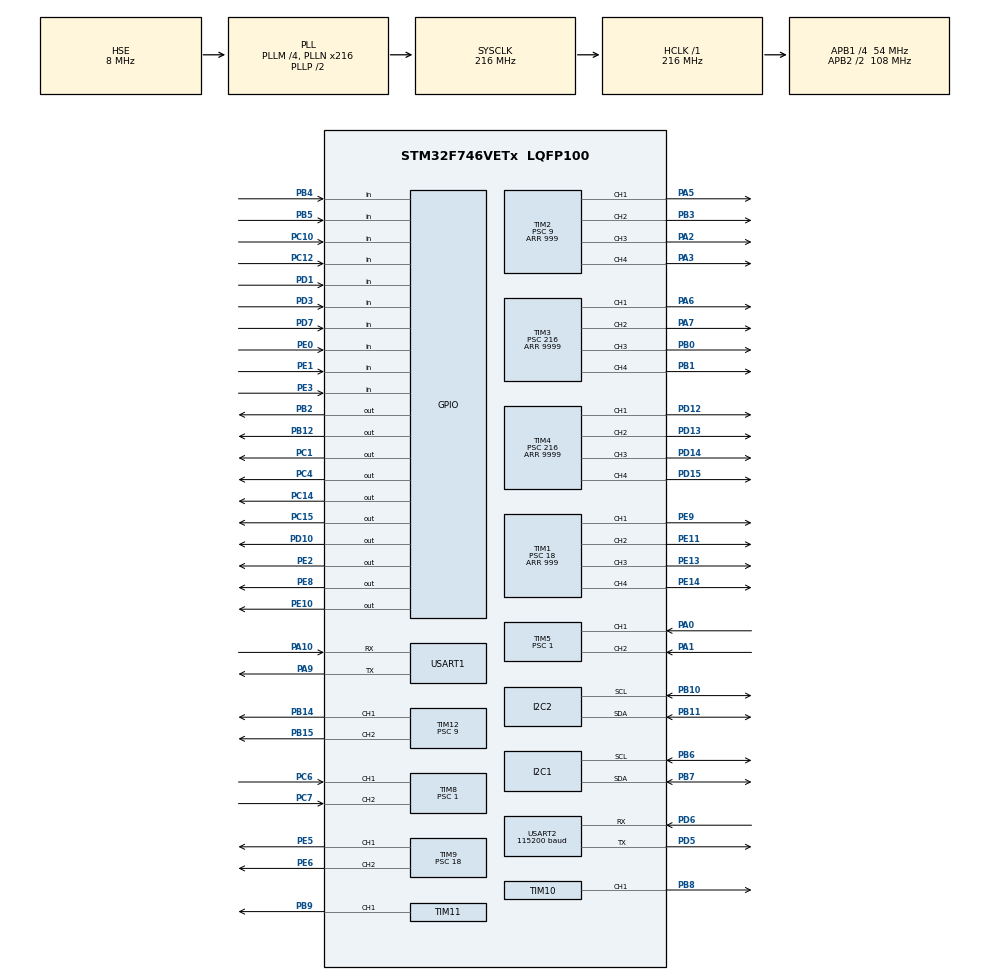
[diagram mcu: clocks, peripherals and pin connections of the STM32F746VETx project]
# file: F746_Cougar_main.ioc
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CORTEX_M7.ART_ACCLERATOR_ENABLE=1
CORTEX_M7.CPU_DCache=Enabled
CORTEX_M7.CPU_ICache=Enabled
CORTEX_M7.FlashInterface=TCM_Enabled
Dma.Request0=USART1_RX
Dma.USART1_RX.0.Direction=DMA_PERIPH_TO_MEMORY
Dma.USART1_RX.0.FIFOMode=DMA_FIFOMODE_DISABLE
Dma.USART1_RX.0.Instance=DMA2_Stream2
Dma.USART1_RX.0.MemDataAlignment=DMA_MDATAALIGN_BYTE
Dma.USART1_RX.0.MemInc=DMA_MINC_ENABLE
Dma.USART1_RX.0.Mode=DMA_CIRCULAR
Dma.USART1_RX.0.PeriphDataAlignment=DMA_PDATAALIGN_BYTE
Dma.USART1_RX.0.PeriphInc=DMA_PINC_DISABLE
Dma.USART1_RX.0.Priority=DMA_PRIORITY_MEDIUM
I2C1.I2C_Fall_Time=300
I2C1.I2C_Rise_Time=1000
I2C1.Timing=0x40D32A31
I2C2.I2C_Fall_Time=300
I2C2.I2C_Rise_Time=1000
I2C2.Timing=0x40D32A31
IWDG.Prescaler=IWDG_PRESCALER_32
Mcu.Family=STM32F7
Mcu.Name=STM32F746VETx
Mcu.Package=LQFP100
NVIC.DMA2_Stream2_IRQn=true\:1\:0\:true\:false\:true\:true
NVIC.I2C2_EV_IRQn=true\:3\:0\:true\:false\:true\:true
NVIC.PriorityGroup=NVIC_PRIORITYGROUP_4
NVIC.TIM6_DAC_IRQn=true\:4\:0\:true\:false\:true\:true
NVIC.USART1_IRQn=true\:2\:0\:true\:false\:true\:true
PA0/WKUP.Signal=S_TIM5_CH1
PA1.Signal=S_TIM5_CH2
PA10.Mode=Asynchronous
PA10.Signal=USART1_RX
PA13.Mode=Serial_Wire
PA13.Signal=SYS_JTMS-SWDIO
PA14.Mode=Serial_Wire
PA14.Signal=SYS_JTCK-SWCLK
PA2.Signal=S_TIM2_CH3
PA3.Signal=S_TIM2_CH4
PA5.Signal=S_TIM2_CH1_ETR
PA6.Signal=S_TIM3_CH1
PA7.Signal=S_TIM3_CH2
PA9.Mode=Asynchronous
PA9.Signal=USART1_TX
PB0.Signal=S_TIM3_CH3
PB1.Signal=S_TIM3_CH4
PB10.Mode=I2C
PB10.Signal=I2C2_SCL
PB11.Mode=I2C
PB11.Signal=I2C2_SDA
PB12.Signal=GPIO_Output
PB14.Signal=S_TIM12_CH1
PB15.Signal=S_TIM12_CH2
PB2.Signal=GPIO_Output
PB3.Signal=S_TIM2_CH2
PB4.Signal=GPIO_Input
PB5.Signal=GPIO_Input
PB6.Mode=I2C
PB6.Signal=I2C1_SCL
PB7.Mode=I2C
PB7.Signal=I2C1_SDA
PB8.Signal=S_TIM10_CH1
PB9.Signal=S_TIM11_CH1
PC1.Signal=GPIO_Output
PC10.Signal=GPIO_Input
PC12.Signal=GPIO_Input
PC14/OSC32_IN.Signal=GPIO_Output
PC15/OSC32_OUT.Signal=GPIO_Output
PC4.Signal=GPIO_Output
PC6.Signal=S_TIM8_CH1
PC7.Signal=S_TIM8_CH2
PD1.Signal=GPIO_Input
PD10.Signal=GPIO_Output
PD12.Signal=S_TIM4_CH1
PD13.Signal=S_TIM4_CH2
PD14.Signal=S_TIM4_CH3
PD15.Signal=S_TIM4_CH4
PD3.Signal=GPIO_Input
PD5.Mode=Asynchronous
PD5.Signal=USART2_TX
PD6.Mode=Asynchronous
PD6.Signal=USART2_RX
PD7.Signal=GPIO_Input
PE0.Signal=GPIO_Input
PE1.Signal=GPIO_Input
PE10.Signal=GPIO_Output
PE11.Signal=S_TIM1_CH2
PE13.Signal=S_TIM1_CH3
PE14.Signal=S_TIM1_CH4
PE2.Signal=GPIO_Output
PE3.Signal=GPIO_Input
PE5.Signal=S_TIM9_CH1
PE6.Signal=S_TIM9_CH2
PE8.Signal=GPIO_Output
PE9.Signal=S_TIM1_CH1
PH0/OSC_IN.Mode=HSE-External-Oscillator
PH0/OSC_IN.Signal=RCC_OSC_IN
PH1/OSC_OUT.Mode=HSE-External-Oscillator
PH1/OSC_OUT.Signal=RCC_OSC_OUT
ProjectManager.HeapSize=0x400
ProjectManager.StackSize=0x800
ProjectManager.TargetToolchain=TrueSTUDIO
RCC.AHBFreq_Value=216000000
RCC.APB1CLKDivider=RCC_HCLK_DIV4
RCC.APB1Freq_Value=54000000
RCC.APB1TimFreq_Value=108000000
RCC.APB2CLKDivider=RCC_HCLK_DIV2
RCC.APB2Freq_Value=108000000
RCC.APB2TimFreq_Value=216000000
RCC.CortexFreq_Value=216000000
RCC.HCLKFreq_Value=216000000
RCC.HSE_VALUE=8000000
RCC.HSI_VALUE=16000000
RCC.LSE_VALUE=32768
RCC.PLLM=4
RCC.PLLN=216
RCC.PLLSourceVirtual=RCC_PLLSOURCE_HSE
RCC.SYSCLKFreq_VALUE=216000000
RCC.SYSCLKSource=RCC_SYSCLKSOURCE_PLLCLK
RCC.USBFreq_Value=216000000
RCC.VCOOutputFreq_Value=432000000
SH.S_TIM10_CH1.0=TIM10_CH1,PWM Generation1 CH1
SH.S_TIM11_CH1.0=TIM11_CH1,PWM Generation1 CH1
SH.S_TIM12_CH1.0=TIM12_CH1,PWM Generation1 CH1
SH.S_TIM12_CH2.0=TIM12_CH2,PWM Generation2 CH2
SH.S_TIM1_CH1.0=TIM1_CH1,PWM Generation1 CH1
SH.S_TIM1_CH2.0=TIM1_CH2,PWM Generation2 CH2
SH.S_TIM1_CH3.0=TIM1_CH3,PWM Generation3 CH3
SH.S_TIM1_CH4.0=TIM1_CH4,PWM Generation4 CH4
SH.S_TIM2_CH1_ETR.0=TIM2_CH1,PWM Generation1 CH1
SH.S_TIM2_CH2.0=TIM2_CH2,PWM Generation2 CH2
SH.S_TIM2_CH3.0=TIM2_CH3,PWM Generation3 CH3
SH.S_TIM2_CH4.0=TIM2_CH4,PWM Generation4 CH4
SH.S_TIM3_CH1.0=TIM3_CH1,PWM Generation1 CH1
SH.S_TIM3_CH2.0=TIM3_CH2,PWM Generation2 CH2
SH.S_TIM3_CH3.0=TIM3_CH3,PWM Generation3 CH3
SH.S_TIM3_CH4.0=TIM3_CH4,PWM Generation4 CH4
SH.S_TIM4_CH1.0=TIM4_CH1,PWM Generation1 CH1
SH.S_TIM4_CH2.0=TIM4_CH2,PWM Generation2 CH2
SH.S_TIM4_CH3.0=TIM4_CH3,PWM Generation3 CH3
SH.S_TIM4_CH4.0=TIM4_CH4,PWM Generation4 CH4
SH.S_TIM5_CH1.0=TIM5_CH1,Encoder_Interface
SH.S_TIM5_CH2.0=TIM5_CH2,Encoder_Interface
SH.S_TIM8_CH1.0=TIM8_CH1,Encoder_Interface
SH.S_TIM8_CH2.0=TIM8_CH2,Encoder_Interface
SH.S_TIM9_CH1.0=TIM9_CH1,PWM Generation1 CH1
SH.S_TIM9_CH2.0=TIM9_CH2,PWM Generation2 CH2
TIM1.Channel-PWM\ Generation1\ CH1=TIM_CHANNEL_1
TIM1.Channel-PWM\ Generation2\ CH2=TIM_CHANNEL_2
TIM1.Channel-PWM\ Generation3\ CH3=TIM_CHANNEL_3
TIM1.Channel-PWM\ Generation4\ CH4=TIM_CHANNEL_4
TIM1.Period=999
TIM1.Prescaler=18
TIM10.Channel=TIM_CHANNEL_1
TIM10.Period=9999
TIM10.Prescaler=432
TIM11.Channel=TIM_CHANNEL_1
TIM11.Period=9999
TIM11.Prescaler=432
TIM12.Channel-PWM\ Generation1\ CH1=TIM_CHANNEL_1
TIM12.Channel-PWM\ Generation2\ CH2=TIM_CHANNEL_2
TIM12.Period=999
TIM12.Prescaler=9
TIM2.Channel-PWM\ Generation1\ CH1=TIM_CHANNEL_1
TIM2.Channel-PWM\ Generation2\ CH2=TIM_CHANNEL_2
TIM2.Channel-PWM\ Generation3\ CH3=TIM_CHANNEL_3
TIM2.Channel-PWM\ Generation4\ CH4=TIM_CHANNEL_4
TIM2.Period=999
TIM2.Prescaler=9
TIM3.Channel-PWM\ Generation1\ CH1=TIM_CHANNEL_1
TIM3.Channel-PWM\ Generation2\ CH2=TIM_CHANNEL_2
TIM3.Channel-PWM\ Generation3\ CH3=TIM_CHANNEL_3
TIM3.Channel-PWM\ Generation4\ CH4=TIM_CHANNEL_4
TIM3.Period=9999
TIM3.Prescaler=216
TIM4.Channel-PWM\ Generation1\ CH1=TIM_CHANNEL_1
TIM4.Channel-PWM\ Generation2\ CH2=TIM_CHANNEL_2
TIM4.Channel-PWM\ Generation3\ CH3=TIM_CHANNEL_3
TIM4.Channel-PWM\ Generation4\ CH4=TIM_CHANNEL_4
TIM4.Period=9999
TIM4.Prescaler=216
TIM5.IC1Filter=2
TIM5.IC1Polarity=TIM_ICPOLARITY_FALLING
TIM5.IC2Filter=2
TIM5.IC2Polarity=TIM_ICPOLARITY_FALLING
TIM5.Period=60000
TIM5.Prescaler=1
TIM6.Period=50000-1
TIM6.Prescaler=864
TIM8.IC1Filter=2
TIM8.IC2Filter=2
TIM8.Period=60000
TIM8.Prescaler=1
TIM9.Channel-PWM\ Generation1\ CH1=TIM_CHANNEL_1
TIM9.Channel-PWM\ Generation2\ CH2=TIM_CHANNEL_2
TIM9.Period=999
TIM9.Prescaler=18
USART1.VirtualMode-Asynchronous=VM_ASYNC
USART1.WordLength=WORDLENGTH_8B
USART2.BaudRate=115200
USART2.VirtualMode-Asynchronous=VM_ASYNC
USART2.WordLength=WORDLENGTH_8B
VP_IWDG_VS_IWDG.Mode=IWDG_Activate
VP_TIM10_VS_ClockSourceINT.Mode=Enable_Timer
VP_TIM11_VS_ClockSourceINT.Mode=Enable_Timer
VP_TIM6_VS_ClockSourceINT.Mode=Enable_Timer
board=F746_Cougar_main

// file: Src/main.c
/**
  ******************************************************************************
  * File Name          : main.c
  * Description        : Main program body
  ******************************************************************************
  ** This notice applies to any and all portions of this file
  * that are not between comment pairs USER CODE BEGIN and
  * USER CODE END. Other portions of this file, whether
  * inserted by the user or by software development tools
  * are owned by their respective copyright owners.
  *
  * COPYRIGHT(c) 2017 STMicroelectronics
  *
  * Redistribution and use in source and binary forms, with or without modification,
  * are permitted provided that the following conditions are met:
  *   1. Redistributions of source code must retain the above copyright notice,
  *      this list of conditions and the following disclaimer.
  *   2. Redistributions in binary form must reproduce the above copyright notice,
  *      this list of conditions and the following disclaimer in the documentation
  *      and/or other materials provided with the distribution.
  *   3. Neither the name of STMicroelectronics nor the names of its contributors
  *      may be used to endorse or promote products derived from this software
  *      without specific prior written permission.
  *
  * THIS SOFTWARE IS PROVIDED BY THE COPYRIGHT HOLDERS AND CONTRIBUTORS "AS IS"
  * AND ANY EXPRESS OR IMPLIED WARRANTIES, INCLUDING, BUT NOT LIMITED TO, THE
  * IMPLIED WARRANTIES OF MERCHANTABILITY AND FITNESS FOR A PARTICULAR PURPOSE ARE
  * DISCLAIMED. IN NO EVENT SHALL THE COPYRIGHT HOLDER OR CONTRIBUTORS BE LIABLE
  * FOR ANY DIRECT, INDIRECT, INCIDENTAL, SPECIAL, EXEMPLARY, OR CONSEQUENTIAL
  * DAMAGES (INCLUDING, BUT NOT LIMITED TO, PROCUREMENT OF SUBSTITUTE GOODS OR
  * SERVICES; LOSS OF USE, DATA, OR PROFITS; OR BUSINESS INTERRUPTION) HOWEVER
  * CAUSED AND ON ANY THEORY OF LIABILITY, WHETHER IN CONTRACT, STRICT LIABILITY,
  * OR TORT (INCLUDING NEGLIGENCE OR OTHERWISE) ARISING IN ANY WAY OUT OF THE USE
  * OF THIS SOFTWARE, EVEN IF ADVISED OF THE POSSIBILITY OF SUCH DAMAGE.
  *
  ******************************************************************************
  */

#include "main.h"
#include "stm32f7xx_hal.h"
#include "dma.h"
#include "i2c.h"
#include "iwdg.h"
#include "tim.h"
#include "usart.h"
#include "gpio.h"

/* USER CODE BEGIN Includes */
#include "management.h"
/* USER CODE END Includes */

/* USER CODE BEGIN PV */
TIM_Encoder_InitTypeDef sConfig;
TIM_MasterConfigTypeDef sMasterConfig;
TIM_OC_InitTypeDef sConfigOC;
TIM_BreakDeadTimeConfigTypeDef sBreakDeadTimeConfig;
arm_pid_instance_f32 pidstruct_encorder1;
/* Private variables ---------------------------------------------------------*/

/* USER CODE END PV */

void SystemClock_Config(void);

/* USER CODE BEGIN PFP */
/* Private function prototypes -----------------------------------------------*/
long map(long x, long in_min, long in_max, long out_min, long out_max) ;
void main_run();
void sens_test();
void comu_test();
void test_mode();
void demo_mode();
void calib_mode();
void motor_move(uint8_t comand,uint8_t dig1,uint8_t dig2,uint8_t power1a,uint8_t power2a);
int max(int a,int b);
void printLCD();
/* USER CODE END PFP */

/* USER CODE BEGIN 0 */
#define Servonumber 5
#define debug 1
uint8_t Flug_Rxdata=0;
uint8_t Rxbuf[Servonumber+10];
uint8_t TPIPConnect=0,Rxdetatemp=0;
uint8_t data[Servonumber+9],tempdata[Servonumber+9];
uint8_t SW[5];
uint8_t mode;
uint8_t motor[5];
int16_t servodata[Servonumber]={90,90,90,90,90};
int16_t servotemp[Servonumber]={90,90,90,90,90};
uint32_t uwDirectionCount1 = 0;
uint32_t uwDirectionCount2 = 0;

void HAL_TIM_PeriodElapsedCallback(TIM_HandleTypeDef *htim)
{
	 if(Rxdetatemp!=data[Servonumber+8] || HAL_GPIO_ReadPin(GPIOE,GPIO_PIN_1)==0){
		 TPIPConnect=1;
		 HAL_GPIO_WritePin(GPIOE,GPIO_PIN_8,1);
	 }
	 else{
		 TPIPConnect=0;
		 HAL_GPIO_TogglePin(GPIOE,GPIO_PIN_8);
	 }
	 Rxdetatemp=data[Servonumber+8];
}
/* USER CODE END 0 */

int main(void)
{

  /* USER CODE BEGIN 1 */
	//Tim1 12KHz
	//Tim3 12Khz
	//Tim5 12Khz
	//Tim2 50Hz
	//Tim4 50Hz
	//Tim9 50Hz
	//Tim6 20Hz

  /* USER CODE END 1 */

  /* Enable I-Cache-------------------------------------------------------------*/
  SCB_EnableICache();

  /* Enable D-Cache-------------------------------------------------------------*/
  SCB_EnableDCache();

  /* MCU Configuration----------------------------------------------------------*/

  /* Reset of all peripherals, Initializes the Flash interface and the Systick. */
  HAL_Init();

  /* Configure the system clock */
  SystemClock_Config();

  /* Initialize all configured peripherals */
  MX_GPIO_Init();
  MX_DMA_Init();
  MX_I2C2_Init();
  MX_TIM1_Init();
  MX_TIM3_Init();
  MX_TIM2_Init();
  MX_TIM4_Init();
  MX_TIM8_Init();
  MX_USART1_UART_Init();
  MX_USART2_UART_Init();
  MX_TIM6_Init();
  MX_TIM9_Init();
  MX_TIM5_Init();
  MX_TIM12_Init();
  MX_TIM11_Init();
  MX_TIM10_Init();
  MX_I2C1_Init();
 // MX_IWDG_Init();

  /* USER CODE BEGIN 2 */
  xdev_out(uart_putc);
  if(HAL_GPIO_ReadPin(GPIOE,GPIO_PIN_1)==1){
  	  MX_IWDG_Init();
  	}
  	else{
  		beep(10,30,30);
  	}
  servo(90,90,90,90,90,90,90,90,90,90);
  HAL_GPIO_WritePin(GPIOC,GPIO_PIN_1,1);
  HAL_GPIO_WritePin(GPIOC,GPIO_PIN_15,0);
  HAL_GPIO_WritePin(GPIOE,GPIO_PIN_2,0);
  oled_i2c_to_oled(&hi2c2);
  JY901_init(&hi2c2);
  init_xprintf(&huart2);
  oled_returnhome();
  oled_puts("Is The Order a");
  oled_setcursor(1,2);
  oled_puts("Rescue Robot?");
  HAL_Delay(1000);
  HAL_IWDG_Refresh(&hiwdg);
  HAL_TIM_Base_Start_IT(&htim6);
  if (HAL_UART_Receive_DMA(&huart1, (uint8_t *)Rxbuf,(Servonumber+7+3)) != HAL_OK)
     {
       Error_Handler();
     }
    if(HAL_TIM_Encoder_Init(&htim5, &sConfig) != HAL_OK)
       {
         Error_Handler();
       }
    HAL_TIM_Encoder_Start(&htim5, TIM_CHANNEL_ALL);
    TIM5->CNT=3000;
    if(HAL_TIM_Encoder_Init(&htim8, &sConfig) != HAL_OK)
      {
        Error_Handler();
      }
    HAL_TIM_Encoder_Start(&htim8, TIM_CHANNEL_ALL);
    TIM8->CNT=3000;
    oled_clear();
	HAL_IWDG_Refresh(&hiwdg);
  /* USER CODE END 2 */

  /* Infinite loop */
  while (1)
  {

  /* USER CODE BEGIN 3 */
	  mofu:
	  mode=HAL_GPIO_ReadPin(GPIOE,GPIO_PIN_0)+(HAL_GPIO_ReadPin(GPIOB,GPIO_PIN_5)*2)
			  +(HAL_GPIO_ReadPin(GPIOB,GPIO_PIN_4)*4);

	  switch(mode){
	  case 1:
		  if(HAL_GPIO_ReadPin(GPIOD,GPIO_PIN_7)==1){
			    oled_returnhome();
			    oled_puts("main_run select ");
			    oled_setcursor(1,0);
			    oled_puts("start setting   ");
			  HOUI_def=JY901_def_set();
			    TIM5->CNT=30000;
			    TIM8->CNT=30000;
			    uint32_t timeout=0;
			    while(encordermotor1(0) && timeout<5000000){
			    	timeout++;
			    	delayUs(1);
			    HAL_IWDG_Refresh(&hiwdg);
			    }
			    timeout=0;
			    while(encordermotor2(0) && timeout<5000000){
			    	timeout++;
			    	delayUs(1);
			    HAL_IWDG_Refresh(&hiwdg);
			    }
			    timeout=0;
				HAL_GPIO_WritePin(GPIOC,GPIO_PIN_15,0);
			  while(TPIPConnect==0){
			  	motor_move(0,0,0,0,0);
			    oled_returnhome();
			    oled_puts("main_run select ");
			    oled_setcursor(1,0);
			    oled_puts("waiting for TPIP");
			    //xprintf(" S1=%d",HAL_GPIO_ReadPin(GPIOD,GPIO_PIN_3));
			    //xprintf(" S2=%d",HAL_GPIO_ReadPin(GPIOD,GPIO_PIN_1));
			    //xprintf(" S3=%d",HAL_GPIO_ReadPin(GPIOC,GPIO_PIN_12));
			    //xprintf(" S4=%d",HAL_GPIO_ReadPin(GPIOC,GPIO_PIN_10));
				xprintf(" 0=%d",Rxbuf[0]);
				xprintf(" 1=%d",Rxbuf[1]);
				xprintf(" 2=%d",Rxbuf[2]);
				xprintf(" 3=%d",Rxbuf[3]);
				xprintf(" 4=%d",Rxbuf[4]);
				xprintf(" 5=%d",Rxbuf[5]);
				xprintf(" 6=%d",Rxbuf[6]);
				xprintf(" 7=%d",Rxbuf[7]);
				xprintf(" 8=%d",Rxbuf[8]);
				xprintf(" 9=%d",Rxbuf[9]);
				xprintf(" 10=%d",Rxbuf[10]);
				xprintf(" 11=%d",Rxbuf[11]);
				xprintf(" 12=%d",Rxbuf[12]);
				xprintf(" 13=%d",Rxbuf[13]);
				xprintf(" 14=%d\r\n",Rxbuf[14]);
			  	if(HAL_GPIO_ReadPin(GPIOD,GPIO_PIN_7)==0){goto mofu;}
			  	HAL_GPIO_WritePin(GPIOC,GPIO_PIN_1,1);
			    HAL_IWDG_Refresh(&hiwdg);
			  	HAL_GPIO_TogglePin(GPIOD,GPIO_PIN_10);
			  	}
			  	HAL_GPIO_WritePin(GPIOE,GPIO_PIN_2,1);
			  	HAL_Delay(50);
			  	HAL_GPIO_WritePin(GPIOE,GPIO_PIN_2,0);
			  	HAL_Delay(50);
			  	HAL_GPIO_WritePin(GPIOE,GPIO_PIN_2,1);
			  	HAL_Delay(50);
			  	HAL_GPIO_WritePin(GPIOE,GPIO_PIN_2,0);
			  	HAL_Delay(50);
			  	HAL_GPIO_WritePin(GPIOE,GPIO_PIN_2,1);
			  	HAL_Delay(50);
			  	HAL_GPIO_WritePin(GPIOE,GPIO_PIN_2,0);
			  	while(HAL_GPIO_ReadPin(GPIOD,GPIO_PIN_7)==1){
			  		if(TPIPConnect==1){
			  		HAL_GPIO_WritePin(GPIOC,GPIO_PIN_1,1);
			  		main_run();
			  		if(data[Servonumber+8]%11==0){
			  		HAL_GPIO_WritePin(GPIOB,GPIO_PIN_2,1);
			  		}
			  		if(data[Servonumber+8]%11==5){
			  		HAL_GPIO_WritePin(GPIOB,GPIO_PIN_2,0);
			  		}
			  	  }
			  	  else{
			  			HAL_GPIO_WritePin(GPIOC,GPIO_PIN_1,0);
			  			motor_move(0,0,0,0,0);
			  			servo(servotemp[0],servotemp[1],servotemp[2],servotemp[3],servotemp[4],
			  				0,0,0,0,0);
			  			oled_returnhome();
			  			oled_puts("main_run select");
			  			oled_setcursor(1,0);
			  			oled_puts("lost connection!");
			  			for(int i=0;i<(Servonumber+10);i++){
			  				xprintf(" %d)%d",i,Rxbuf[i]);
			  			}
			  			xprintf("\r\n");
			  		 HAL_GPIO_WritePin(GPIOE,GPIO_PIN_2,1);
			  		 HAL_Delay(300);
			  		 HAL_GPIO_WritePin(GPIOE,GPIO_PIN_2,0);
			  		 HAL_Delay(100);
			  	  }
			  	  HAL_IWDG_Refresh(&hiwdg);
			  	  HAL_GPIO_TogglePin(GPIOD,GPIO_PIN_10);
			  }
		  		HAL_GPIO_WritePin(GPIOB,GPIO_PIN_2,0);
	  			motor_move(0,0,0,0,0);
	  			servo(servotemp[0],servotemp[1],servotemp[2],servotemp[3],servotemp[4],
	  				0,0,0,0,0);
		  }
		  else{
			  oled_returnhome();
			  oled_puts("main_run select");
			  oled_setcursor(1,0);
			  oled_puts("OK?     waiting ");
			  HAL_Delay(5);
			  HAL_IWDG_Refresh(&hiwdg);
		  }
	  break;

	  case 2:
			if(HAL_GPIO_ReadPin(GPIOD,GPIO_PIN_7)==1){
				HOUI_def=JY901_def_set();
			    TIM5->CNT=30000;
			    TIM8->CNT=30000;
				HAL_GPIO_WritePin(GPIOC,GPIO_PIN_1,0);
				while(HAL_GPIO_ReadPin(GPIOD,GPIO_PIN_7)==1){
				oled_returnhome();
				oled_puts("Comu test select");
				oled_setcursor(1,0);
				oled_puts("Runnning         ");
				comu_test();
				HAL_IWDG_Refresh(&hiwdg);
				HAL_GPIO_TogglePin(GPIOD,GPIO_PIN_10);
			}
				motor_move(0,0,0,0,0);
				servo(90,90,90,90,90,90,0,0,0,0);
			}
			else{
				oled_returnhome();
				oled_puts("Comu test select");
				oled_setcursor(1,0);
				oled_puts("OK?     waiting ");
				HAL_IWDG_Refresh(&hiwdg);
				HAL_Delay(5);
			}
	  break;

	  case 3:
		  if(HAL_GPIO_ReadPin(GPIOD,GPIO_PIN_7)==1){
			  HOUI_def=JY901_def_set();
			    TIM5->CNT=30000;
			    TIM8->CNT=30000;
			  HAL_GPIO_WritePin(GPIOC,GPIO_PIN_1,0);
			  	while(HAL_GPIO_ReadPin(GPIOD,GPIO_PIN_7)==1){
			  	oled_returnhome();
			  	oled_puts("sens_test select");
			  	oled_setcursor(1,0);
			  	oled_puts("Running          ");
				sens_test();
				  HAL_IWDG_Refresh(&hiwdg);
			  HAL_GPIO_TogglePin(GPIOD,GPIO_PIN_10);
			  }
				motor_move(0,0,0,0,0);
				servo(90,90,90,90,90,90,0,0,0,0);
		  }
		  else{
				oled_returnhome();
				oled_puts("sens_test select");
				oled_setcursor(1,0);
				oled_puts("OK?     waiting ");
				  HAL_IWDG_Refresh(&hiwdg);
				HAL_Delay(5);
		  }
	  break;

	  case 4:
		  if(HAL_GPIO_ReadPin(GPIOD,GPIO_PIN_7)==1){
			  HOUI_def=JY901_def_set();
			    TIM5->CNT=30000;
			    TIM8->CNT=30000;
			    while(HAL_GPIO_ReadPin(GPIOD,GPIO_PIN_7)==1){
			    	HAL_GPIO_WritePin(GPIOC,GPIO_PIN_1,1);
			    	oled_returnhome();
			    	oled_puts("test mode select");
			    	oled_setcursor(1,0);
			    	oled_puts("Ruuning         ");
			    	  HAL_IWDG_Refresh(&hiwdg);
					HAL_GPIO_TogglePin(GPIOD,GPIO_PIN_10);
					test_mode();
			     }
				motor_move(0,0,0,0,0);
				servo(90,90,90,90,90,90,0,0,0,0);
		  }
		  else{
			oled_returnhome();
			oled_puts("test mode select");
			oled_setcursor(1,0);
			oled_puts("OK?     waiting ");
			  HAL_IWDG_Refresh(&hiwdg);
			HAL_Delay(5);
		  }
	  break;

	  case 5:
		  if(HAL_GPIO_ReadPin(GPIOD,GPIO_PIN_7)==1){
			  HOUI_def=JY901_def_set();
			    TIM5->CNT=30000;
			    TIM8->CNT=30000;
				HAL_GPIO_WritePin(GPIOC,GPIO_PIN_1,1);
				while(HAL_GPIO_ReadPin(GPIOD,GPIO_PIN_7)==1){
				oled_returnhome();
				oled_puts("demo mode select");
				oled_setcursor(1,0);
				oled_puts("Runnning         ");
				HAL_IWDG_Refresh(&hiwdg);
				HAL_GPIO_TogglePin(GPIOD,GPIO_PIN_10);
				demo_mode();
			}
				motor_move(0,0,0,0,0);
				servo(90,90,90,90,90,90,0,0,0,0);
		  }
		  else{
				oled_returnhome();
				oled_puts("demo mode select");
				oled_setcursor(1,0);
				oled_puts("OK?     waiting ");
				  HAL_IWDG_Refresh(&hiwdg);
				HAL_Delay(5);
		  }
	  break;

	  case 6:
			oled_returnhome();
			oled_puts("Calib select");
			oled_setcursor(1,0);
		  if(HAL_GPIO_ReadPin(GPIOD,GPIO_PIN_7)==1){
			  calib_mode();
			  HAL_IWDG_Refresh(&hiwdg);
		  }
		  else{
				oled_puts("OK?     waiting ");
				HAL_Delay(5);
		  }
			motor_move(0,0,0,0,0);
			servo(90,90,90,90,90,90,0,0,0,0);
	  break;

	  default:
			oled_returnhome();
			oled_puts("select mode     ");
			oled_setcursor(1,0);
			oled_puts("           SURF ");
			motor_move(0,0,0,0,0);
			servo(90,90,90,90,90,90,0,0,0,0);

			  HAL_IWDG_Refresh(&hiwdg);
		   HAL_Delay(5);
	  break;
	  }
	  HAL_IWDG_Refresh(&hiwdg);
	  HAL_GPIO_TogglePin(GPIOD,GPIO_PIN_10);

  }
  /* USER CODE END 3 */

}

/** System Clock Configuration
*/
void SystemClock_Config(void)
{

  RCC_OscInitTypeDef RCC_OscInitStruct;
  RCC_ClkInitTypeDef RCC_ClkInitStruct;
  RCC_PeriphCLKInitTypeDef PeriphClkInitStruct;

    /**Configure the main internal regulator output voltage
    */
  __HAL_RCC_PWR_CLK_ENABLE();

  __HAL_PWR_VOLTAGESCALING_CONFIG(PWR_REGULATOR_VOLTAGE_SCALE1);

    /**Initializes the CPU, AHB and APB busses clocks
    */
  RCC_OscInitStruct.OscillatorType = RCC_OSCILLATORTYPE_LSI|RCC_OSCILLATORTYPE_HSE;
  RCC_OscInitStruct.HSEState = RCC_HSE_ON;
  RCC_OscInitStruct.LSIState = RCC_LSI_ON;
  RCC_OscInitStruct.PLL.PLLState = RCC_PLL_ON;
  RCC_OscInitStruct.PLL.PLLSource = RCC_PLLSOURCE_HSE;
  RCC_OscInitStruct.PLL.PLLM = 4;
  RCC_OscInitStruct.PLL.PLLN = 216;
  RCC_OscInitStruct.PLL.PLLP = RCC_PLLP_DIV2;
  RCC_OscInitStruct.PLL.PLLQ = 2;
  if (HAL_RCC_OscConfig(&RCC_OscInitStruct) != HAL_OK)
  {
    _Error_Handler(__FILE__, __LINE__);
  }

    /**Activate the Over-Drive mode
    */
  if (HAL_PWREx_EnableOverDrive() != HAL_OK)
  {
    _Error_Handler(__FILE__, __LINE__);
  }

    /**Initializes the CPU, AHB and APB busses clocks
    */
  RCC_ClkInitStruct.ClockType = RCC_CLOCKTYPE_HCLK|RCC_CLOCKTYPE_SYSCLK
                              |RCC_CLOCKTYPE_PCLK1|RCC_CLOCKTYPE_PCLK2;
  RCC_ClkInitStruct.SYSCLKSource = RCC_SYSCLKSOURCE_PLLCLK;
  RCC_ClkInitStruct.AHBCLKDivider = RCC_SYSCLK_DIV1;
  RCC_ClkInitStruct.APB1CLKDivider = RCC_HCLK_DIV4;
  RCC_ClkInitStruct.APB2CLKDivider = RCC_HCLK_DIV2;

  if (HAL_RCC_ClockConfig(&RCC_ClkInitStruct, FLASH_LATENCY_7) != HAL_OK)
  {
    _Error_Handler(__FILE__, __LINE__);
  }

  PeriphClkInitStruct.PeriphClockSelection = RCC_PERIPHCLK_USART1|RCC_PERIPHCLK_USART2
                              |RCC_PERIPHCLK_I2C1|RCC_PERIPHCLK_I2C2;
  PeriphClkInitStruct.Usart1ClockSelection = RCC_USART1CLKSOURCE_PCLK2;
  PeriphClkInitStruct.Usart2ClockSelection = RCC_USART2CLKSOURCE_PCLK1;
  PeriphClkInitStruct.I2c1ClockSelection = RCC_I2C1CLKSOURCE_PCLK1;
  PeriphClkInitStruct.I2c2ClockSelection = RCC_I2C2CLKSOURCE_PCLK1;
  if (HAL_RCCEx_PeriphCLKConfig(&PeriphClkInitStruct) != HAL_OK)
  {
    _Error_Handler(__FILE__, __LINE__);
  }

    /**Configure the Systick interrupt time
    */
  HAL_SYSTICK_Config(HAL_RCC_GetHCLKFreq()/1000);

    /**Configure the Systick
    */
  HAL_SYSTICK_CLKSourceConfig(SYSTICK_CLKSOURCE_HCLK);

  /* SysTick_IRQn interrupt configuration */
  HAL_NVIC_SetPriority(SysTick_IRQn, 0, 0);
}

/* USER CODE BEGIN 4 */
void main_run(){
	HOUI=JY901_yaw_get(HOUI_def);
	motor_move(motor[0],motor[1],motor[2],motor[3],motor[4]);
	servo(servodata[0],servodata[1],servodata[2],servodata[3],servodata[4]
		,0,0,0,0,0);
	solenoid(data[Servonumber+7]);
	encordermotor1(data[5]);
	encordermotor2(data[6]);
	for(int tempnumber=0;tempnumber<Servonumber;tempnumber++){
	servotemp[tempnumber]=servodata[tempnumber];
	}
	if(Flug_Rxdata==1){
	oled_clear();
	oled_returnhome();
	oled_puts("main_run select");
	oled_setcursor(1,0);
	switch(motor[0]){
	case 150:
		oled_puts("Running   LS");
	break;
	case 200:
		oled_puts("Running   RS");
	break;
	case 100:
		printLCD();
	break;
	case 250:
		printLCD();
	break;
	case 50:
		printLCD();
	break;
	case 125:
		printLCD();
	break;
	default:
		oled_puts("Running");
	break;
	}
	if(debug==1){
	xprintf(" cmd=%d",motor[0]);
	xprintf(" dig=%d",digree);
	/*xprintf(" p1=%d",power1);
	xprintf(" p2=%d",power2);
	xprintf(" p3=%d",power3);
	xprintf(" p4=%d",power4);*/
	xprintf(" p=%d",power);
	xprintf(" E1=%d",TIM5->CNT);
	xprintf(" E2=%d",TIM8->CNT);
	xprintf(" D=%d",data[Servonumber+8]);
	xprintf(" H=%d\r\n",HOUI);
	}
	Flug_Rxdata=0;
	}

}

void sens_test(){
		HAL_GPIO_WritePin(GPIOC,GPIO_PIN_1,0);
		motor_move(0,0,0,0,0);
		servo(90,90,90,90,90,0,0,0,0,0);
		HOUI=JY901_yaw_get(HOUI_def);
		uwDirectionCount1 = TIM5->CNT;
		uwDirectionCount2 = TIM8->CNT;
		xprintf(" jack=%d",HAL_GPIO_ReadPin(GPIOE,GPIO_PIN_3));
		xprintf(" E1=%d E2=%d",(int)uwDirectionCount1,(int)uwDirectionCount2);
		xprintf(" SW_E1=%d%d",HAL_GPIO_ReadPin(GPIOD,GPIO_PIN_3),HAL_GPIO_ReadPin(GPIOD,GPIO_PIN_1));
		xprintf(" SW_E2=%d%d",HAL_GPIO_ReadPin(GPIOC,GPIO_PIN_12),HAL_GPIO_ReadPin(GPIOC,GPIO_PIN_10));
		xprintf(" HOUIdef=%d",HOUI_def);
		xprintf(" HOUI=%d\r\n",HOUI);
}

void comu_test(){
		HAL_GPIO_WritePin(GPIOC,GPIO_PIN_1,0);
		motor_move(0,0,0,0,0);
		servo(90,90,90,90,90,0,0,0,0,0);
		for(int i=0;i<(Servonumber+9);i++){
			xprintf(" data%d)%d",i,data[i]);
		}
		uint8_t tempbuf=0;
		tempbuf=(data[Servonumber+7] & 0b00000010)>>1;
		xprintf(" Solenoid=%d",tempbuf);
		tempbuf=(data[Servonumber+7] & 0b00000100)>>2;
		if(tempbuf==1){HAL_GPIO_WritePin(GPIOC,GPIO_PIN_15,1);}
		else{HAL_GPIO_WritePin(GPIOC,GPIO_PIN_15,0);}
		xprintf(" writedata=%d\r\n",tempbuf);
}

void test_mode(){
	HAL_GPIO_WritePin(GPIOC,GPIO_PIN_1,1);
	motor_move(250,232,3,251,5);
	HAL_Delay(1000);
	motor_move(250,156,4,251,5);
	HAL_Delay(1000);
	/*motor_move(0,0,0,0,0);
	servo(90,90,90,90,90,0,0,0,0,0);
	if(HAL_GPIO_ReadPin(GPIOE,GPIO_PIN_1)==0){
	while(encordermotor1(200)!=HAL_OK){
	xprintf("goto200 ");
	xprintf("encorder1=%d",TIM5->CNT);
	xprintf("encorder2=%d",TIM8->CNT);
	xprintf("\r\n");

	  HAL_IWDG_Refresh(&hiwdg);
	}
	HAL_Delay(200);
	HAL_IWDG_Refresh(&hiwdg);
	while(encordermotor1(1)!=HAL_OK){
		xprintf("goto1 ");
		xprintf("encorder1=%d",TIM5->CNT);
		xprintf("encorder2=%d",TIM8->CNT);
		xprintf("\r\n");
		  HAL_IWDG_Refresh(&hiwdg);
	}
	}
	xprintf("waiting");
	xprintf(" encorder1=%d",TIM5->CNT);
	xprintf(" encorder2=%d",TIM8->CNT);
	xprintf("\r\n");*/
}

void demo_mode(){
	HAL_GPIO_WritePin(GPIOC,GPIO_PIN_1,1);
	servo(90,90,90,90,90,0,0,0,0,0);
	HOUI=JY901_yaw_get(HOUI_def);
	if(HOUI>= 5 && HOUI<=355){
		motor1(0,0);
		motor2(0,0);
		motor3(0,0);
		motor4(0,0);
		HAL_Delay(50);
		while(HOUI>=5 && HOUI<=355){
		HOUI=JY901_yaw_get(HOUI_def);
		if(HOUI<180){
		motor1(0,(int)map(HOUI,0,180,300,600));
		motor2(0,(int)map(HOUI,0,180,300,600));
		motor3((int)map(HOUI,0,180,300,600),0);
		motor4((int)map(HOUI,0,180,300,600),0);
		HAL_GPIO_WritePin(GPIOE,GPIO_PIN_10,1);
		xprintf("LS now");
		xprintf(" speed= %d\r\n",(int)map(HOUI,0,180,70,300));
		}
		else{
			motor1((int)map(HOUI,359,180,300,600),0);
			motor2((int)map(HOUI,359,180,300,600),0);
			motor3(0,(int)map(HOUI,359,180,300,600));
			motor4(0,(int)map(HOUI,359,180,300,600));
			HAL_GPIO_WritePin(GPIOE,GPIO_PIN_10,1);
			xprintf("RS now");
			xprintf(" speed= %d\r\n",(int)map(HOUI,359,180,70,300));
		}
		  HAL_IWDG_Refresh(&hiwdg);
		}
		motor1(0,0);
		motor2(0,0);
		motor3(0,0);
		motor4(0,0);
		HAL_GPIO_WritePin(GPIOE,GPIO_PIN_10,0);
		HAL_Delay(50);
	}
	motor1(0,0);
	motor2(0,0);
	motor3(0,0);
	motor4(0,0);
	HAL_GPIO_WritePin(GPIOE,GPIO_PIN_10,0);
	uwDirectionCount1 = TIM5->CNT;
	uwDirectionCount2 = TIM8->CNT;
	xprintf("E1=%d E2=%d",(int)uwDirectionCount1,(int)uwDirectionCount2);
	xprintf(" HOUI=%d\r\n",HOUI);
}

void calib_mode(){
	HAL_GPIO_WritePin(GPIOC,GPIO_PIN_1,1);
	motor_move(0,0,0,0,0);
	while(HAL_GPIO_ReadPin(GPIOD,GPIO_PIN_7)==1){
		oled_returnhome();
		oled_puts("Calib select    ");
		oled_setcursor(1,0);
		oled_puts("Running Press SW");
		HAL_Delay(5);
	if(HAL_GPIO_ReadPin(GPIOE,GPIO_PIN_1)==0){	//press RS
		HAL_GPIO_WritePin(GPIOB,GPIO_PIN_2,1);
		oled_clear();
		oled_returnhome();
		oled_puts("Angular velocity");
		oled_setcursor(1,0);
		oled_puts("    Calibration ");
		JY901_calibration(1000,1);
		oled_clear();
		oled_returnhome();
		oled_puts("Magnetic");
		oled_setcursor(1,0);
		oled_puts(" Calibration  RS");
		xprintf("houi cab\r\n");
		motor_move(200,0,0,201,3);
		JY901_calibration(10000,2);
		oled_clear();
		oled_returnhome();
		oled_puts("Calibration End ");
		oled_setcursor(1,0);
		oled_puts("                ");
		motor_move(0,0,0,0,0);
		xprintf("cab end\r\n");
		JY901_calibration(100,3);
		xprintf("save\r\n");
		JY901_calibration(100,4);
		HAL_GPIO_WritePin(GPIOB,GPIO_PIN_2,0);
	  	HAL_GPIO_WritePin(GPIOE,GPIO_PIN_2,1);
	  	HAL_Delay(200);
	  	HAL_GPIO_WritePin(GPIOE,GPIO_PIN_2,0);
	  	HAL_Delay(70);
	  	HAL_GPIO_WritePin(GPIOE,GPIO_PIN_2,1);
	  	HAL_Delay(200);
	  	HAL_GPIO_WritePin(GPIOE,GPIO_PIN_2,0);
	  	HAL_Delay(400);
	}

	HAL_GPIO_TogglePin(GPIOD,GPIO_PIN_10);
    HAL_IWDG_Refresh(&hiwdg);
}
}

long map(long x, long in_min, long in_max, long out_min, long out_max) {
	  return (x - in_min) * (out_max - out_min) / (in_max - in_min) + out_min;
	}

void HAL_UART_RxCpltCallback(UART_HandleTypeDef *huart){
		int j = 0;
		while (Rxbuf[j] != 253 && j<(Servonumber + 9)) {
			j++;
		}
		if(j>=Servonumber+9){

			for (int k = 0; k < 7; k++) {
				data[k] = 0;
			}
			for(int k=7;k<(Servonumber+7);k++){
				data[k]=90;
			}
			data[Servonumber+7]=0;
			data[Servonumber+8]=0;

		}
		else {
			for (int k = 0; k < (Servonumber + 9); k++) {
				if ((j + k) >= Servonumber + 9) {
					data[k] = Rxbuf[k - (Servonumber + 9 - j)];
				}
				else {
					data[k] = Rxbuf[j + k + 1];
				}
			}
			motor[0]=data[0];
			motor[1]=data[1];
			motor[2]=data[2];
			motor[3]=data[3];
			motor[4]=data[4];

			for(int i=0;i<Servonumber;i++){
			servodata[i]=(int16_t)data[i+7];
			}
			Flug_Rxdata=1;
			TX_buf[0]=1+HAL_GPIO_ReadPin(GPIOE,GPIO_PIN_3)*2;
			HAL_UART_Transmit(&huart1,TX_buf,1,0xff);
		}
		}

/* USER CODE END 4 */

void _Error_Handler(char * file, int line)
{
  /* USER CODE BEGIN Error_Handler_Debug */
  /* User can add his own implementation to report the HAL error return state */
  while(1)
  {
	  HAL_GPIO_WritePin(GPIOB,GPIO_PIN_12,1);
  }
  /* USER CODE END Error_Handler_Debug */
}

/************************ (C) COPYRIGHT STMicroelectronics *****END OF FILE****/
